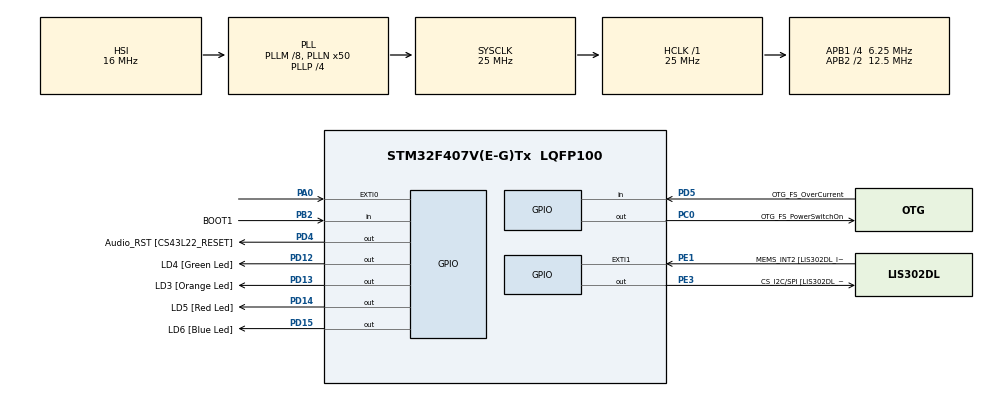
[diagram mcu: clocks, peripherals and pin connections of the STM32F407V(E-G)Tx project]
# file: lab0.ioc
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Mcu.Family=STM32F4
Mcu.Name=STM32F407V(E-G)Tx
Mcu.Package=LQFP100
NVIC.EXTI0_IRQn=true\:0\:0\:false\:false\:true\:true\:true\:true
NVIC.PriorityGroup=NVIC_PRIORITYGROUP_4
NVIC.TIM7_IRQn=true\:0\:0\:false\:false\:true\:false\:true\:true
NVIC.TimeBase=TIM7_IRQn
NVIC.TimeBaseIP=TIM7
PA0-WKUP.Signal=GPXTI0
PA10.GPIO_Label=OTG_FS_ID
PA10.GPIO_Mode=GPIO_MODE_AF_PP
PA10.GPIO_PuPd=GPIO_NOPULL
PA10.GPIO_Speed=GPIO_SPEED_FREQ_LOW
PA10.Signal=USB_OTG_FS_ID
PA11.GPIO_Label=OTG_FS_DM
PA11.GPIO_Mode=GPIO_MODE_AF_PP
PA11.GPIO_PuPd=GPIO_NOPULL
PA11.GPIO_Speed=GPIO_SPEED_FREQ_LOW
PA11.Signal=USB_OTG_FS_DM
PA12.GPIO_Label=OTG_FS_DP
PA12.GPIO_Mode=GPIO_MODE_AF_PP
PA12.GPIO_PuPd=GPIO_NOPULL
PA12.GPIO_Speed=GPIO_SPEED_FREQ_LOW
PA12.Signal=USB_OTG_FS_DP
PA13.GPIO_Label=SWDIO
PA13.Mode=Serial_Wire
PA13.Signal=SYS_JTMS-SWDIO
PA14.GPIO_Label=SWCLK
PA14.Mode=Serial_Wire
PA14.Signal=SYS_JTCK-SWCLK
PA4.GPIO_Label=I2S3_WS [CS43L22_LRCK]
PA4.GPIO_Mode=GPIO_MODE_AF_PP
PA4.GPIO_PuPd=GPIO_NOPULL
PA4.GPIO_Speed=GPIO_SPEED_FREQ_LOW
PA4.Signal=I2S3_WS
PA5.GPIO_Label=SPI1_SCK [LIS302DL_SCL/SPC]
PA5.GPIO_Mode=GPIO_MODE_AF_PP
PA5.GPIO_PuPd=GPIO_NOPULL
PA5.GPIO_Speed=GPIO_SPEED_FREQ_LOW
PA5.Signal=SPI1_SCK
PA6.GPIO_Label=SPI1_MISO [LIS302DL_SDO]
PA6.GPIO_Mode=GPIO_MODE_AF_PP
PA6.GPIO_PuPd=GPIO_NOPULL
PA6.GPIO_Speed=GPIO_SPEED_FREQ_LOW
PA6.Signal=SPI1_MISO
PA7.GPIO_Label=SPI1_MOSI [LIS302DL_SDA/SDI/SDO]
PA7.GPIO_Mode=GPIO_MODE_AF_PP
PA7.GPIO_PuPd=GPIO_NOPULL
PA7.GPIO_Speed=GPIO_SPEED_FREQ_LOW
PA7.Signal=SPI1_MOSI
PA9.GPIO_Label=VBUS_FS
PA9.GPIO_Mode=GPIO_MODE_INPUT
PA9.GPIO_PuPd=GPIO_NOPULL
PA9.Signal=USB_OTG_FS_VBUS
PB10.GPIO_Label=CLK_IN [MP45DT02_CLK]
PB10.GPIO_Mode=GPIO_MODE_AF_PP
PB10.GPIO_PuPd=GPIO_NOPULL
PB10.GPIO_Speed=GPIO_SPEED_FREQ_LOW
PB10.Signal=I2S2_CK
PB2.GPIO_Label=BOOT1
PB2.GPIO_Mode=GPIO_MODE_INPUT
PB2.GPIO_PuPd=GPIO_NOPULL
PB2.Signal=GPIO_Input
PB3.GPIO_Label=SWO
PB3.Signal=SYS_JTDO-SWO
PB6.GPIO_Label=Audio_SCL [CS43L22_SCL]
PB6.GPIO_Mode=GPIO_MODE_AF_OD
PB6.GPIO_PuPd=GPIO_NOPULL
PB6.GPIO_Speed=GPIO_SPEED_FREQ_LOW
PB6.Signal=I2C1_SCL
PB9.GPIO_Label=Audio_SDA [CS43L22_SDA]
PB9.GPIO_Mode=GPIO_MODE_AF_OD
PB9.GPIO_PuPd=GPIO_NOPULL
PB9.GPIO_Speed=GPIO_SPEED_FREQ_LOW
PB9.Signal=I2C1_SDA
PC0.GPIO_Label=OTG_FS_PowerSwitchOn
PC0.GPIO_PuPd=GPIO_NOPULL
PC0.GPIO_Speed=GPIO_SPEED_FREQ_LOW
PC0.PinState=GPIO_PIN_SET
PC0.Signal=GPIO_Output
PC10.GPIO_Label=I2S3_SCK [CS43L22_SCLK]
PC10.GPIO_Mode=GPIO_MODE_AF_PP
PC10.GPIO_PuPd=GPIO_NOPULL
PC10.GPIO_Speed=GPIO_SPEED_FREQ_LOW
PC10.Signal=I2S3_CK
PC12.GPIO_Label=I2S3_SD [CS43L22_SDIN]
PC12.GPIO_Mode=GPIO_MODE_AF_PP
PC12.GPIO_PuPd=GPIO_NOPULL
PC12.GPIO_Speed=GPIO_SPEED_FREQ_LOW
PC12.Signal=I2S3_SD
PC14-OSC32_IN.GPIO_Label=PC14-OSC32_IN
PC14-OSC32_IN.Signal=RCC_OSC32_IN
PC15-OSC32_OUT.GPIO_Label=PC15-OSC32_OUT
PC15-OSC32_OUT.Signal=RCC_OSC32_OUT
PC3.GPIO_Label=PDM_OUT [MP45DT02_DOUT]
PC3.GPIO_Mode=GPIO_MODE_AF_PP
PC3.GPIO_PuPd=GPIO_NOPULL
PC3.GPIO_Speed=GPIO_SPEED_FREQ_LOW
PC3.Signal=I2S2_SD
PC7.GPIO_Label=I2S3_MCK [CS43L22_MCLK]
PC7.GPIO_Mode=GPIO_MODE_AF_PP
PC7.GPIO_PuPd=GPIO_NOPULL
PC7.GPIO_Speed=GPIO_SPEED_FREQ_LOW
PC7.Signal=I2S3_MCK
PD12.GPIO_Label=LD4 [Green Led]
PD12.GPIO_PuPd=GPIO_NOPULL
PD12.GPIO_Speed=GPIO_SPEED_FREQ_LOW
PD12.Signal=GPIO_Output
PD13.GPIO_Label=LD3 [Orange Led]
PD13.GPIO_PuPd=GPIO_NOPULL
PD13.GPIO_Speed=GPIO_SPEED_FREQ_LOW
PD13.Signal=GPIO_Output
PD14.GPIO_Label=LD5 [Red Led]
PD14.GPIO_PuPd=GPIO_NOPULL
PD14.GPIO_Speed=GPIO_SPEED_FREQ_LOW
PD14.Signal=GPIO_Output
PD15.GPIO_Label=LD6 [Blue Led]
PD15.GPIO_PuPd=GPIO_NOPULL
PD15.GPIO_Speed=GPIO_SPEED_FREQ_LOW
PD15.Signal=GPIO_Output
PD4.GPIO_Label=Audio_RST [CS43L22_RESET]
PD4.GPIO_PuPd=GPIO_NOPULL
PD4.GPIO_Speed=GPIO_SPEED_FREQ_LOW
PD4.Signal=GPIO_Output
PD5.GPIO_Label=OTG_FS_OverCurrent
PD5.GPIO_Mode=GPIO_MODE_INPUT
PD5.GPIO_PuPd=GPIO_NOPULL
PD5.Signal=GPIO_Input
PE1.GPIO_Label=MEMS_INT2 [LIS302DL_INT2]
PE1.GPIO_ModeDefaultEXTI=GPIO_MODE_EVT_RISING
PE1.GPIO_PuPd=GPIO_NOPULL
PE1.Signal=GPXTI1
PE3.GPIO_Label=CS_I2C/SPI [LIS302DL_CS_I2C/SPI]
PE3.GPIO_PuPd=GPIO_NOPULL
PE3.GPIO_Speed=GPIO_SPEED_FREQ_LOW
PE3.Signal=GPIO_Output
PH0-OSC_IN.GPIO_Label=PH0-OSC_IN
PH0-OSC_IN.Signal=RCC_OSC_IN
PH1-OSC_OUT.GPIO_Label=PH1-OSC_OUT
PH1-OSC_OUT.Signal=RCC_OSC_OUT
ProjectManager.HeapSize=0x200
ProjectManager.StackSize=0x400
ProjectManager.TargetToolchain=STM32CubeIDE
RCC.48MHZClocksFreq_Value=14285714.285714285
RCC.AHBFreq_Value=25000000
RCC.APB1CLKDivider=RCC_HCLK_DIV4
RCC.APB1Freq_Value=6250000
RCC.APB1TimFreq_Value=12500000
RCC.APB2CLKDivider=RCC_HCLK_DIV2
RCC.APB2Freq_Value=12500000
RCC.APB2TimFreq_Value=25000000
RCC.CortexFreq_Value=25000000
RCC.HCLKFreq_Value=25000000
RCC.HSE_VALUE=8000000
RCC.HSI_VALUE=16000000
RCC.LSE_VALUE=32768
RCC.PLLM=8
RCC.PLLN=50
RCC.PLLP=RCC_PLLP_DIV4
RCC.PLLQ=7
RCC.SYSCLKFreq_VALUE=25000000
RCC.SYSCLKSource=RCC_SYSCLKSOURCE_PLLCLK
RCC.VCOOutputFreq_Value=100000000
VP_SYS_VS_tim7.Mode=TIM7
board=STM32F407G-DISC1

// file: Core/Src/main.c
/* USER CODE BEGIN Header */
/**
  ******************************************************************************
  * @file           : main.c
  * @brief          : Main program body
  ******************************************************************************
  * @attention
  *
  * Copyright (c) 2022 STMicroelectronics.
  * All rights reserved.
  *
  * This software is licensed under terms that can be found in the LICENSE file
  * in the root directory of this software component.
  * If no LICENSE file comes with this software, it is provided AS-IS.
  *
  ******************************************************************************
  */
/* USER CODE END Header */
#include "main.h"

/* USER CODE BEGIN Includes */
#include"FreeRTOS.h"
#include"task.h"
#include"queue.h"

/* USER CODE END Includes */

void SystemClock_Config(void);
static void MX_GPIO_Init(void);

/* USER CODE BEGIN 0 */
BaseType_t xReturned;
TaskHandle_t xS1Handle=NULL;
TaskHandle_t xS2Handle=NULL;
// global variable to do Inter-Task-Communication
volatile BaseType_t currentTask = 0;
// mutex to prevent critical section error

void LED_S1( void ){
    HAL_GPIO_WritePin(GPIOD, GPIO_PIN_12 | GPIO_PIN_14 , GPIO_PIN_RESET);

    for(;;){
        if (currentTask == 0) {
            HAL_GPIO_WritePin(GPIOD, GPIO_PIN_12, GPIO_PIN_SET );
            vTaskDelay(1000);
            if (currentTask == 1) continue;
            vTaskDelay(1000);
            HAL_GPIO_WritePin(GPIOD, GPIO_PIN_12, GPIO_PIN_RESET );
        }
        if (currentTask == 0) {
            HAL_GPIO_WritePin(GPIOD, GPIO_PIN_14, GPIO_PIN_SET );
            vTaskDelay(1000);
            if (currentTask == 1) continue;
            vTaskDelay(1000);
            HAL_GPIO_WritePin(GPIOD, GPIO_PIN_14, GPIO_PIN_RESET );
        }

    }
}

// T2
void LED_S2( void ){
    HAL_GPIO_WritePin(GPIOD, GPIO_PIN_13, GPIO_PIN_RESET);
    for(;;){
        if (currentTask == 1) {
            HAL_GPIO_WritePin(GPIOD, GPIO_PIN_13, GPIO_PIN_SET );
            vTaskDelay(1000);
            HAL_GPIO_WritePin(GPIOD, GPIO_PIN_13, GPIO_PIN_RESET );
         	vTaskDelay(1000);

        }

    }
}
/* USER CODE END 0 */

int main(void)
{

  /* MCU Configuration--------------------------------------------------------*/

  /* Reset of all peripherals, Initializes the Flash interface and the Systick. */
  HAL_Init();

  /* Configure the system clock */
  SystemClock_Config();

  /* USER CODE BEGIN SysInit */
  HAL_GPIO_WritePin(GPIOD, GPIO_PIN_13, GPIO_PIN_RESET);
  /* USER CODE END SysInit */

  /* Initialize all configured peripherals */
  MX_GPIO_Init();
  /* USER CODE BEGIN 2 */
  taskENTER_CRITICAL();

  xTaskCreate(
		  LED_S1,
		  "S1",
		  128,
		  NULL,
		  1,
		  &xS1Handle);
  xTaskCreate(
		  LED_S2,
		  "S2",
		  128,
		  NULL,
		  1,
		  &xS2Handle);

  taskEXIT_CRITICAL();

//  vPortSetInterruptHandler();
  vTaskStartScheduler();
  /* USER CODE END 2 */

  /* Infinite loop */
  while (1)
  {

  }
}

void SystemClock_Config(void)
{
  RCC_OscInitTypeDef RCC_OscInitStruct = {0};
  RCC_ClkInitTypeDef RCC_ClkInitStruct = {0};

  /** Configure the main internal regulator output voltage
  */
  __HAL_RCC_PWR_CLK_ENABLE();
  __HAL_PWR_VOLTAGESCALING_CONFIG(PWR_REGULATOR_VOLTAGE_SCALE1);

  /** Initializes the RCC Oscillators according to the specified parameters
  * in the RCC_OscInitTypeDef structure.
  */
  RCC_OscInitStruct.OscillatorType = RCC_OSCILLATORTYPE_HSI;
  RCC_OscInitStruct.HSIState = RCC_HSI_ON;
  RCC_OscInitStruct.HSICalibrationValue = RCC_HSICALIBRATION_DEFAULT;
  RCC_OscInitStruct.PLL.PLLState = RCC_PLL_ON;
  RCC_OscInitStruct.PLL.PLLSource = RCC_PLLSOURCE_HSI;
  RCC_OscInitStruct.PLL.PLLM = 8;
  RCC_OscInitStruct.PLL.PLLN = 50;
  RCC_OscInitStruct.PLL.PLLP = RCC_PLLP_DIV4;
  RCC_OscInitStruct.PLL.PLLQ = 7;
  if (HAL_RCC_OscConfig(&RCC_OscInitStruct) != HAL_OK)
  {
    Error_Handler();
  }

  /** Initializes the CPU, AHB and APB buses clocks
  */
  RCC_ClkInitStruct.ClockType = RCC_CLOCKTYPE_HCLK|RCC_CLOCKTYPE_SYSCLK
                              |RCC_CLOCKTYPE_PCLK1|RCC_CLOCKTYPE_PCLK2;
  RCC_ClkInitStruct.SYSCLKSource = RCC_SYSCLKSOURCE_PLLCLK;
  RCC_ClkInitStruct.AHBCLKDivider = RCC_SYSCLK_DIV1;
  RCC_ClkInitStruct.APB1CLKDivider = RCC_HCLK_DIV4;
  RCC_ClkInitStruct.APB2CLKDivider = RCC_HCLK_DIV2;

  if (HAL_RCC_ClockConfig(&RCC_ClkInitStruct, FLASH_LATENCY_0) != HAL_OK)
  {
    Error_Handler();
  }
}

static void MX_GPIO_Init(void)
{
  GPIO_InitTypeDef GPIO_InitStruct = {0};

  /* GPIO Ports Clock Enable */
  __HAL_RCC_GPIOE_CLK_ENABLE();
  __HAL_RCC_GPIOC_CLK_ENABLE();
  __HAL_RCC_GPIOH_CLK_ENABLE();
  __HAL_RCC_GPIOA_CLK_ENABLE();
  __HAL_RCC_GPIOB_CLK_ENABLE();
  __HAL_RCC_GPIOD_CLK_ENABLE();

  /*Configure GPIO pin Output Level */
  HAL_GPIO_WritePin(CS_I2C_SPI_GPIO_Port, CS_I2C_SPI_Pin, GPIO_PIN_RESET);

  /*Configure GPIO pin Output Level */
  HAL_GPIO_WritePin(OTG_FS_PowerSwitchOn_GPIO_Port, OTG_FS_PowerSwitchOn_Pin, GPIO_PIN_SET);

  /*Configure GPIO pin Output Level */
  HAL_GPIO_WritePin(GPIOD, LD4_Pin|LD3_Pin|LD5_Pin|LD6_Pin
                          |Audio_RST_Pin, GPIO_PIN_RESET);

  /*Configure GPIO pin : CS_I2C_SPI_Pin */
  GPIO_InitStruct.Pin = CS_I2C_SPI_Pin;
  GPIO_InitStruct.Mode = GPIO_MODE_OUTPUT_PP;
  GPIO_InitStruct.Pull = GPIO_NOPULL;
  GPIO_InitStruct.Speed = GPIO_SPEED_FREQ_LOW;
  HAL_GPIO_Init(CS_I2C_SPI_GPIO_Port, &GPIO_InitStruct);

  /*Configure GPIO pin : OTG_FS_PowerSwitchOn_Pin */
  GPIO_InitStruct.Pin = OTG_FS_PowerSwitchOn_Pin;
  GPIO_InitStruct.Mode = GPIO_MODE_OUTPUT_PP;
  GPIO_InitStruct.Pull = GPIO_NOPULL;
  GPIO_InitStruct.Speed = GPIO_SPEED_FREQ_LOW;
  HAL_GPIO_Init(OTG_FS_PowerSwitchOn_GPIO_Port, &GPIO_InitStruct);

  /*Configure GPIO pin : PDM_OUT_Pin */
  GPIO_InitStruct.Pin = PDM_OUT_Pin;
  GPIO_InitStruct.Mode = GPIO_MODE_AF_PP;
  GPIO_InitStruct.Pull = GPIO_NOPULL;
  GPIO_InitStruct.Speed = GPIO_SPEED_FREQ_LOW;
  GPIO_InitStruct.Alternate = GPIO_AF5_SPI2;
  HAL_GPIO_Init(PDM_OUT_GPIO_Port, &GPIO_InitStruct);

  /*Configure GPIO pin : PA0 */
  GPIO_InitStruct.Pin = GPIO_PIN_0;
  GPIO_InitStruct.Mode = GPIO_MODE_IT_RISING;
  GPIO_InitStruct.Pull = GPIO_NOPULL;
  HAL_GPIO_Init(GPIOA, &GPIO_InitStruct);

  /*Configure GPIO pin : I2S3_WS_Pin */
  GPIO_InitStruct.Pin = I2S3_WS_Pin;
  GPIO_InitStruct.Mode = GPIO_MODE_AF_PP;
  GPIO_InitStruct.Pull = GPIO_NOPULL;
  GPIO_InitStruct.Speed = GPIO_SPEED_FREQ_LOW;
  GPIO_InitStruct.Alternate = GPIO_AF6_SPI3;
  HAL_GPIO_Init(I2S3_WS_GPIO_Port, &GPIO_InitStruct);

  /*Configure GPIO pins : SPI1_SCK_Pin SPI1_MISO_Pin SPI1_MOSI_Pin */
  GPIO_InitStruct.Pin = SPI1_SCK_Pin|SPI1_MISO_Pin|SPI1_MOSI_Pin;
  GPIO_InitStruct.Mode = GPIO_MODE_AF_PP;
  GPIO_InitStruct.Pull = GPIO_NOPULL;
  GPIO_InitStruct.Speed = GPIO_SPEED_FREQ_LOW;
  GPIO_InitStruct.Alternate = GPIO_AF5_SPI1;
  HAL_GPIO_Init(GPIOA, &GPIO_InitStruct);

  /*Configure GPIO pin : BOOT1_Pin */
  GPIO_InitStruct.Pin = BOOT1_Pin;
  GPIO_InitStruct.Mode = GPIO_MODE_INPUT;
  GPIO_InitStruct.Pull = GPIO_NOPULL;
  HAL_GPIO_Init(BOOT1_GPIO_Port, &GPIO_InitStruct);

  /*Configure GPIO pin : CLK_IN_Pin */
  GPIO_InitStruct.Pin = CLK_IN_Pin;
  GPIO_InitStruct.Mode = GPIO_MODE_AF_PP;
  GPIO_InitStruct.Pull = GPIO_NOPULL;
  GPIO_InitStruct.Speed = GPIO_SPEED_FREQ_LOW;
  GPIO_InitStruct.Alternate = GPIO_AF5_SPI2;
  HAL_GPIO_Init(CLK_IN_GPIO_Port, &GPIO_InitStruct);

  /*Configure GPIO pins : LD4_Pin LD3_Pin LD5_Pin LD6_Pin
                           Audio_RST_Pin */
  GPIO_InitStruct.Pin = LD4_Pin|LD3_Pin|LD5_Pin|LD6_Pin
                          |Audio_RST_Pin;
  GPIO_InitStruct.Mode = GPIO_MODE_OUTPUT_PP;
  GPIO_InitStruct.Pull = GPIO_NOPULL;
  GPIO_InitStruct.Speed = GPIO_SPEED_FREQ_LOW;
  HAL_GPIO_Init(GPIOD, &GPIO_InitStruct);

  /*Configure GPIO pins : I2S3_MCK_Pin I2S3_SCK_Pin I2S3_SD_Pin */
  GPIO_InitStruct.Pin = I2S3_MCK_Pin|I2S3_SCK_Pin|I2S3_SD_Pin;
  GPIO_InitStruct.Mode = GPIO_MODE_AF_PP;
  GPIO_InitStruct.Pull = GPIO_NOPULL;
  GPIO_InitStruct.Speed = GPIO_SPEED_FREQ_LOW;
  GPIO_InitStruct.Alternate = GPIO_AF6_SPI3;
  HAL_GPIO_Init(GPIOC, &GPIO_InitStruct);

  /*Configure GPIO pin : VBUS_FS_Pin */
  GPIO_InitStruct.Pin = VBUS_FS_Pin;
  GPIO_InitStruct.Mode = GPIO_MODE_INPUT;
  GPIO_InitStruct.Pull = GPIO_NOPULL;
  HAL_GPIO_Init(VBUS_FS_GPIO_Port, &GPIO_InitStruct);

  /*Configure GPIO pins : OTG_FS_ID_Pin OTG_FS_DM_Pin OTG_FS_DP_Pin */
  GPIO_InitStruct.Pin = OTG_FS_ID_Pin|OTG_FS_DM_Pin|OTG_FS_DP_Pin;
  GPIO_InitStruct.Mode = GPIO_MODE_AF_PP;
  GPIO_InitStruct.Pull = GPIO_NOPULL;
  GPIO_InitStruct.Speed = GPIO_SPEED_FREQ_LOW;
  GPIO_InitStruct.Alternate = GPIO_AF10_OTG_FS;
  HAL_GPIO_Init(GPIOA, &GPIO_InitStruct);

  /*Configure GPIO pin : OTG_FS_OverCurrent_Pin */
  GPIO_InitStruct.Pin = OTG_FS_OverCurrent_Pin;
  GPIO_InitStruct.Mode = GPIO_MODE_INPUT;
  GPIO_InitStruct.Pull = GPIO_NOPULL;
  HAL_GPIO_Init(OTG_FS_OverCurrent_GPIO_Port, &GPIO_InitStruct);

  /*Configure GPIO pins : Audio_SCL_Pin Audio_SDA_Pin */
  GPIO_InitStruct.Pin = Audio_SCL_Pin|Audio_SDA_Pin;
  GPIO_InitStruct.Mode = GPIO_MODE_AF_OD;
  GPIO_InitStruct.Pull = GPIO_NOPULL;
  GPIO_InitStruct.Speed = GPIO_SPEED_FREQ_LOW;
  GPIO_InitStruct.Alternate = GPIO_AF4_I2C1;
  HAL_GPIO_Init(GPIOB, &GPIO_InitStruct);

  /*Configure GPIO pin : MEMS_INT2_Pin */
  GPIO_InitStruct.Pin = MEMS_INT2_Pin;
  GPIO_InitStruct.Mode = GPIO_MODE_EVT_RISING;
  GPIO_InitStruct.Pull = GPIO_NOPULL;
  HAL_GPIO_Init(MEMS_INT2_GPIO_Port, &GPIO_InitStruct);

  /* EXTI interrupt init*/
  HAL_NVIC_SetPriority(EXTI0_IRQn, 0, 0);
  HAL_NVIC_EnableIRQ(EXTI0_IRQn);

}

void HAL_TIM_PeriodElapsedCallback(TIM_HandleTypeDef *htim)
{
  if (htim->Instance == TIM7) {
    HAL_IncTick();
  }
}

void Error_Handler(void)
{
  __disable_irq();
  while (1)
  {
  }
}
